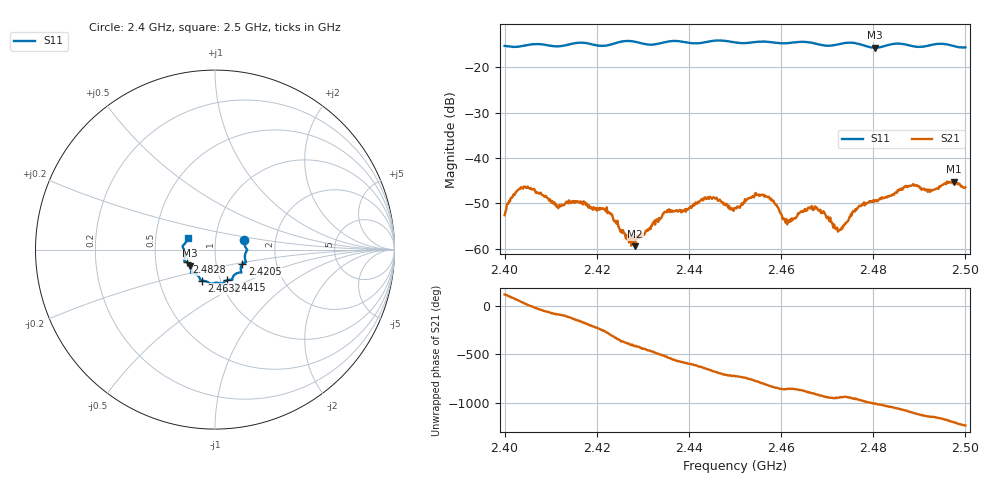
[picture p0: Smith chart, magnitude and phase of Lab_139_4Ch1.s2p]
# Hz S RI R 50
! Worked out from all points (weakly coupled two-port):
!   601 points, 2.4 GHz to 2.5 GHz, reference 50 ohm
!   highest |S21| = -45.21 dB at 2.4975 GHz (marker M1); lowest = -59.5 dB at 2.4283 GHz (marker M2)
!   lowest |S11| = -15.7 dB at 2.4803 GHz (marker M3), VSWR 1.39, Z = 37.4 - j6.84 ohm
!   |S11| at or under -10 dB: start of sweep to end of sweep
!   S12 and S22 are empty: the file has one direction only
!   S11 on the Smith chart (normalised r, x): 2.4 GHz: 1.38, +0.15; 2.4205 GHz: 1.34, -0.23; 2.4415 GHz: 1.07, -0.38; 2.4632 GHz: 0.82, -0.29; 2.4828 GHz: 0.72, -0.10; 2.5 GHz: 0.73, +0.10
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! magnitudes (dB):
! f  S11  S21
! 2.4 GHz  -15.3  -52.6
! 2.404 GHz  -15.3  -46.8
! 2.4115 GHz  -15.4  -50.6
! 2.4167 GHz  -14.6  -50.0
! 2.4205 GHz  -15.3  -51.5
! 2.4283 GHz  -14.4  -59.5
! 2.4333 GHz  -14.8  -54.1
! 2.4415 GHz  -14.7  -49.8
! 2.445 GHz  -14.2  -49.0
! 2.45 GHz  -14.5  -51.1
! 2.456 GHz  -14.3  -48.2
! 2.4608 GHz  -14.7  -53.4
! 2.4632 GHz  -14.5  -53.3
! 2.4667 GHz  -14.6  -50.6
! 2.4728 GHz  -14.9  -55.8
! 2.4767 GHz  -14.8  -51.0
! 2.4803 GHz  -15.7  -49.3
! 2.4828 GHz  -15.2  -48.6
! 2.4833 GHz  -15.1  -48.4
! 2.4873 GHz  -15.1  -46.4
! 2.4975 GHz  -15.3  -45.2
! 2.5 GHz  -15.6  -46.5
